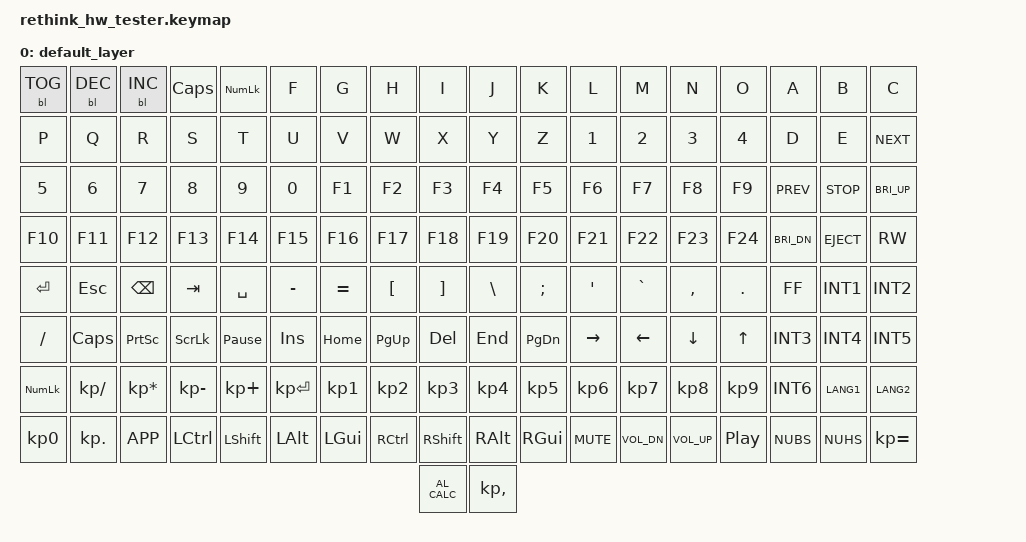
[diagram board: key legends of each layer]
/*
 * Copyright (c) 2026 Ziemniaczenka
 * SPDX-License-Identifier: MIT
 *
 * Every position sends a different key, so each one can be told apart.
 * Row 0 (SENSE0), columns 0-4 (DRV0-4): backlight toggle, down, up, Caps Lock,
 * Num Lock. Caps/Num Lock toggle the host state, which the adapter LEDs
 * follow. Columns 15-17 are DRV15-17 on the expander. The last row holds the
 * direct keys: HOTKEY (calculator) and PWRSWITCH (keypad comma).
 * Row r, column c = position r*18 + c.
 */

#include <behaviors.dtsi>
#include <dt-bindings/zmk/backlight.h>
#include <dt-bindings/zmk/keys.h>

/ {
    keymap {
        compatible = "zmk,keymap";

        default_layer {
            bindings = <
                &bl BL_TOG       &bl BL_DEC       &bl BL_INC       &kp CAPS         &kp KP_NUM       &kp F            &kp G            &kp H            &kp I            &kp J            &kp K            &kp L            &kp M            &kp N            &kp O            &kp A            &kp B            &kp C
                &kp P           &kp Q           &kp R           &kp S           &kp T           &kp U           &kp V           &kp W           &kp X           &kp Y           &kp Z           &kp N1          &kp N2          &kp N3          &kp N4          &kp D           &kp E           &kp C_NEXT
                &kp N5          &kp N6          &kp N7          &kp N8          &kp N9          &kp N0          &kp F1          &kp F2          &kp F3          &kp F4          &kp F5          &kp F6          &kp F7          &kp F8          &kp F9          &kp C_PREV      &kp C_STOP      &kp C_BRI_UP
                &kp F10         &kp F11         &kp F12         &kp F13         &kp F14         &kp F15         &kp F16         &kp F17         &kp F18         &kp F19         &kp F20         &kp F21         &kp F22         &kp F23         &kp F24         &kp C_BRI_DN    &kp C_EJECT     &kp C_RW
                &kp RET         &kp ESC         &kp BSPC        &kp TAB         &kp SPACE       &kp MINUS       &kp EQUAL       &kp LBKT        &kp RBKT        &kp BSLH        &kp SEMI        &kp SQT         &kp GRAVE       &kp COMMA       &kp DOT         &kp C_FF        &kp INT1        &kp INT2
                &kp FSLH        &kp CAPS        &kp PSCRN       &kp SLCK        &kp PAUSE_BREAK &kp INS         &kp HOME        &kp PG_UP       &kp DEL         &kp END         &kp PG_DN       &kp RIGHT       &kp LEFT        &kp DOWN        &kp UP          &kp INT3        &kp INT4        &kp INT5
                &kp KP_NUM      &kp KP_DIVIDE   &kp KP_MULTIPLY &kp KP_MINUS    &kp KP_PLUS     &kp KP_ENTER    &kp KP_N1       &kp KP_N2       &kp KP_N3       &kp KP_N4       &kp KP_N5       &kp KP_N6       &kp KP_N7       &kp KP_N8       &kp KP_N9       &kp INT6        &kp LANG1       &kp LANG2
                &kp KP_N0       &kp KP_DOT      &kp K_APP       &kp LCTRL       &kp LSHFT       &kp LALT        &kp LGUI        &kp RCTRL       &kp RSHFT       &kp RALT        &kp RGUI        &kp C_MUTE      &kp C_VOL_DN    &kp C_VOL_UP    &kp C_PP        &kp NUBS        &kp NUHS        &kp KP_EQUAL
                &kp C_AL_CALC   &kp KP_COMMA
            >;
        };
    };
};
